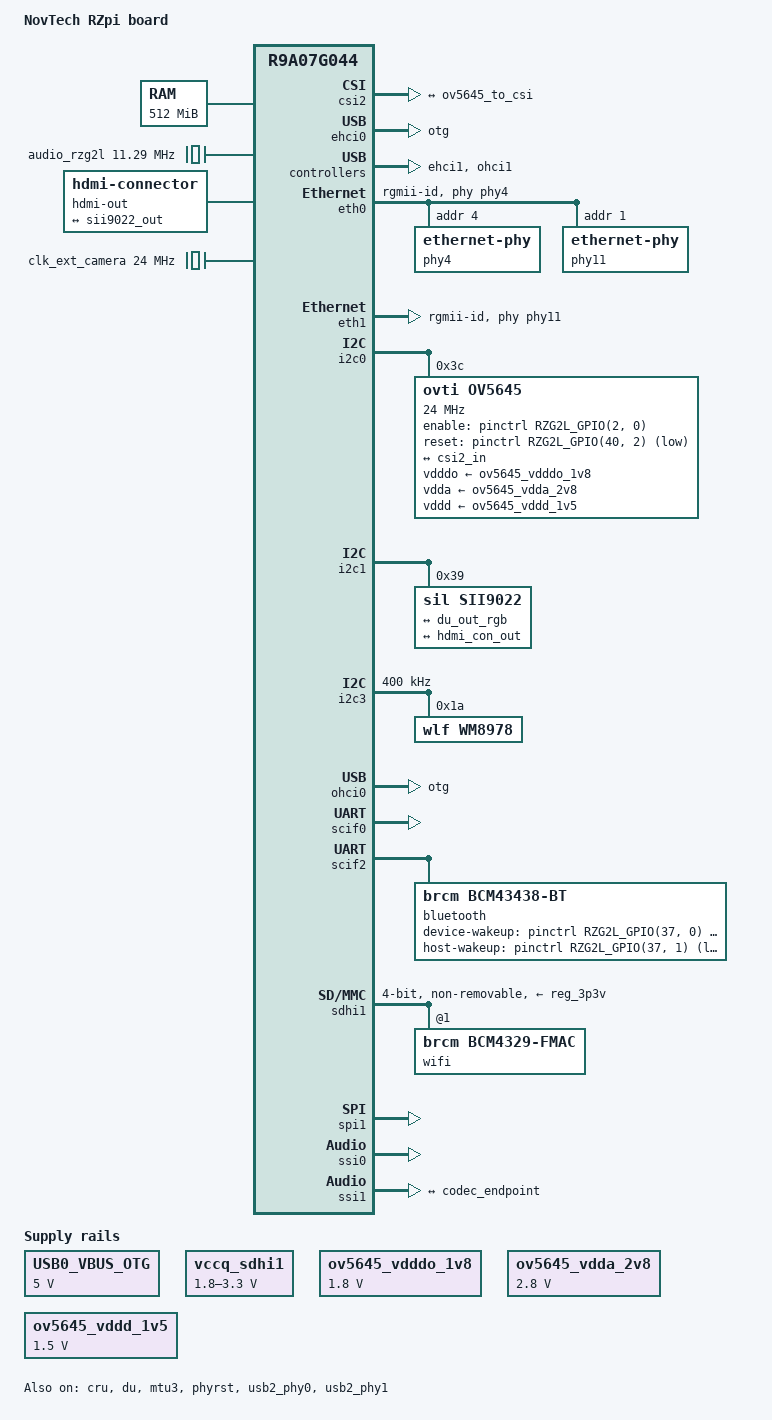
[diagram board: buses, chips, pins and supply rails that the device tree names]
// SPDX-License-Identifier: (GPL-2.0-only OR BSD-2-Clause)
/*
 * Device Tree Source for the RZ/G2L SBC board
 *
 * Copyright (C) 2023 Renesas Electronics Corp.
 */

/dts-v1/;
#include "r9a07g044l2.dtsi"
#include "rzg2l-smarc-som.dtsi"
#include "rzg2l-smarc-pinfunction.dtsi"

/ {
	compatible = "rzpi", "renesas,r9a07g044l2", "renesas,r9a07g044";
	model = "NovTech RZpi board";

	aliases {
		i2c3 = "/soc/i2c@10058c00";
		ethernet0 = "/soc/ethernet@11c20000";
		ethernet1 = "/soc/ethernet@11c30000";
		serial0 = "/soc/serial@1004b800";
		i2c0 = "/soc/i2c@10058000";
		i2c1 = "/soc/i2c@10058400";
		mmc0 = "/soc/mmc@11c00000";
		mmc1 = "/soc/mmc@11c10000";
	};

	chosen {
		bootargs = "ignore_loglevel rw root=/dev/nfs ip=on";
		stdout-path = "serial0:115200n8";
	};

	memory@48000000 {
		device_type = "memory";
		reg = <0x0 0x48000000 0x0 0x20000000>;
	};

	reserved-memory {
		#address-cells = <0x2>;
		#size-cells = <0x2>;
		ranges;

		global_cma: linux,cma@58000000 {
			compatible = "shared-dma-pool";
			linux,cma-default;
			reusable;
			reg = <0x0 0x58000000 0x0 0x2000000>;
		};

		mmp_reserved: linux,multimedia {
			compatible = "shared-dma-pool";
			reusable;
			reg = <0x0 0x5a000000 0x0 0x1000000>;
		};
	};

	mmngr {
		compatible = "renesas,mmngr";
		memory-region = <&mmp_reserved>;
	};

	mmngrbuf {
		compatible = "renesas,mmngrbuf";
	};

	vspm_if {
		compatible = "renesas,vspm_if";
	};

	audio_rzg2l: audio_mclock {
		compatible = "fixed-clock";
		#clock-cells = <0x0>;
		clock-frequency = <0xac4400>;
	};

	snd_rzg2l: sound {
		compatible = "simple-audio-card";
		simple-audio-card,format = "i2s";
		simple-audio-card,bitclock-master = <&cpu_dai>;
		simple-audio-card,frame-master = <&cpu_dai>;
		simple-audio-card,mclk-fs = <0x100>;
		simple-audio-card,widgets = "Microphone", "Microphone Jack";
		simple-audio-card,routing = "L2", "Mic Bias", "R2", "Mic Bias", \
						"Mic Bias", "Microphone Jack";

		cpu_dai: simple-audio-card,cpu {
		};

		simple-audio-card,codec {
			clocks = <&audio_rzg2l>;
			sound-dai = <&wm8978>;
		};
	};

	regulator-usb0-vbus-otg {
		compatible = "regulator-fixed";
		regulator-name = "USB0_VBUS_OTG";
		regulator-min-microvolt = <5000000>;
		regulator-max-microvolt = <5000000>;
	};

	vccq_sdhi1: regulator-vccq-sdhi1 {
		compatible = "regulator-gpio";
		regulator-name = "SDHI1 VccQ";
		regulator-min-microvolt = <1800000>;
		regulator-max-microvolt = <3300000>;
		gpios-states = <1>;
		states = <3300000 1>, <1800000 0>;
	};

	hdmi-out {
		compatible = "hdmi-connector";
		type = "a";

		status = "okay";

		port {
			hdmi_con_out: endpoint {
				remote-endpoint = <&sii9022_out>;
			};
		};
	};

	clk_ext_camera: clk_ext_camera {
		compatible = "fixed-clock";
		#clock-cells = <0>;
		clock-frequency = <24000000>;
	};

	ov5645_vdddo_1v8: 1p8v {
		compatible = "regulator-fixed";
		regulator-name = "camera_vdddo";
		regulator-min-microvolt = <1800000>;
		regulator-max-microvolt = <1800000>;
		regulator-always-on;
	};

	ov5645_vdda_2v8: 2p8v {
		compatible = "regulator-fixed";
		regulator-name = "camera_vdda";
		regulator-min-microvolt = <2800000>;
		regulator-max-microvolt = <2800000>;
		regulator-always-on;
	};

	ov5645_vddd_1v5: 1p5v {
		compatible = "regulator-fixed";
		regulator-name = "camera_vddd";
		regulator-min-microvolt = <1500000>;
		regulator-max-microvolt = <1500000>;
		regulator-always-on;
	};

	sound_card {
		compatible = "audio-graph-card";
		dais = <&i2s2_port0>;
	};
};

&pinctrl {
	du_pins: du {
		pinmux = <RZG2L_PORT_PINMUX(6, 0, 1)>, /* CLK */
			<RZG2L_PORT_PINMUX(6, 1, 1)>, /* HSYNC */
			<RZG2L_PORT_PINMUX(7, 0, 1)>, /* VSYNC */
			<RZG2L_PORT_PINMUX(7, 1, 1)>, /* DE */
			<RZG2L_PORT_PINMUX(8, 1, 1)>,
			<RZG2L_PORT_PINMUX(8, 2, 1)>,
			<RZG2L_PORT_PINMUX(9, 0, 1)>,
			<RZG2L_PORT_PINMUX(9, 1, 1)>,
			<RZG2L_PORT_PINMUX(10, 0, 1)>,
			<RZG2L_PORT_PINMUX(10, 1, 1)>,
			<RZG2L_PORT_PINMUX(12, 0, 1)>,
			<RZG2L_PORT_PINMUX(12, 1, 1)>,
			<RZG2L_PORT_PINMUX(13, 0, 1)>,
			<RZG2L_PORT_PINMUX(13, 1, 1)>,
			<RZG2L_PORT_PINMUX(13, 2, 1)>,
			<RZG2L_PORT_PINMUX(14, 0, 1)>,
			<RZG2L_PORT_PINMUX(15, 1, 1)>,
			<RZG2L_PORT_PINMUX(16, 0, 1)>,
			<RZG2L_PORT_PINMUX(16, 1, 1)>,
			<RZG2L_PORT_PINMUX(17, 0, 1)>,
			<RZG2L_PORT_PINMUX(17, 1, 1)>,
			<RZG2L_PORT_PINMUX(17, 2, 1)>;
	};

	eth1_pins: eth1 {
		pinmux = <RZG2L_PORT_PINMUX(29, 0, 1)>, /* ET1_TXC */
			<RZG2L_PORT_PINMUX(29, 1, 1)>, /* ET1_TX_CTL */
			<RZG2L_PORT_PINMUX(30, 0, 1)>, /* ET1_TXD0 */
			<RZG2L_PORT_PINMUX(30, 1, 1)>, /* ET1_TXD1 */
			<RZG2L_PORT_PINMUX(31, 0, 1)>, /* ET1_TXD2 */
			<RZG2L_PORT_PINMUX(31, 1, 1)>, /* ET1_TXD3 */
			<RZG2L_PORT_PINMUX(33, 1, 1)>, /* ET1_RXC */
			<RZG2L_PORT_PINMUX(34, 0, 1)>, /* ET1_RX_CTL */
			<RZG2L_PORT_PINMUX(34, 1, 1)>, /* ET1_RXD0 */
			<RZG2L_PORT_PINMUX(35, 0, 1)>, /* ET1_RXD1 */
			<RZG2L_PORT_PINMUX(35, 1, 1)>, /* ET1_RXD2 */
			<RZG2L_PORT_PINMUX(36, 0, 1)>; /* ET1_RXD3 */
	};

	scif2_pins: scif2 {
		pinmux = <RZG2L_PORT_PINMUX(48, 0, 1)>, /* TxD */
			<RZG2L_PORT_PINMUX(48, 1, 1)>, /* RxD */
			<RZG2L_PORT_PINMUX(42, 3, 4)>, /* CTS# */
			<RZG2L_PORT_PINMUX(42, 4, 4)>; /* RTS# */
	};

	/* Remove unused nodes */
	/delete-node/ can1-stb-hog;
};

&adc {
	status = "disabled";
};

&audio_clk1 {
	clock-frequency = <11289600>;
};

&audio_clk2 {
	clock-frequency = <12288000>;
};

&canfd {
	pinctrl-0 = <&can0_pins &can1_pins>;
	pinctrl-names = "default";
	status = "disabled";
	channel0 {
		status = "okay";
	};
	channel1 {
		status = "okay";
	};
};

&cru {
	status = "okay";
};

&cpu_dai {
	sound-dai = <&ssi0>;
};

&csi2 {
	status = "okay";

	ports {

		port {
			csi2_in: endpoint {
				clock-lanes = <0>;
				data-lanes = <1 2>;
				remote-endpoint = <&ov5645_to_csi>;
			};
		};
	};
};

&du {
	pinctrl-0 = <&du_pins>;
	pinctrl-names = "default";

	status = "okay";

	ports {

		port@0 {
			du_out_rgb: endpoint {
				remote-endpoint = <&sii9022_in>;
			};
		};
	};
};

&dsi0 {
	status = "disabled";

	ports {
		port@1 {
			dsi0_out: endpoint {
				remote-endpoint = <&adv7535_in>;
				data-lanes = <1 2 3 4>;
			};
		};
	};
};

&ehci0 {
	dr_mode = "otg";
	status = "okay";
};

&ehci1 {
	status = "okay";
};

&eth0 {
	pinctrl-0 = <&eth0_pins>;
	pinctrl-names = "default";
	phy-handle = <&phy4>;
	phy-mode = "rgmii-id";
	status = "okay";

	phy4: ethernet-phy@4 {
		reg = <0x4>;
	};

	phy11: ethernet-phy@1 {
		reg = <0x1>;
	};
};

&eth1 {
	pinctrl-0 = <&eth1_pins>;
	pinctrl-names = "default";
	phy-handle = <&phy11>;
	phy-mode = "rgmii-id";
	status = "okay";
};

&hsusb {
	status = "disabled";
};

&i2c0 {
	pinctrl-0 = <&i2c0_pins>;
	pinctrl-names = "default";

	status = "okay";

	ov5645: camera@3c {
		compatible = "ovti,ov5645";
		reg = <0x3c>;
		clock-names = "xclk";
		clocks = <&clk_ext_camera>;
		clock-frequency = <24000000>;
		vdddo-supply = <&ov5645_vdddo_1v8>;
		vdda-supply = <&ov5645_vdda_2v8>;
		vddd-supply = <&ov5645_vddd_1v5>;

		port {
			ov5645_to_csi: endpoint {
				clock-lanes = <0>;
				data-lanes = <1 2>;
				remote-endpoint = <&csi2_in>;
			};
		};
	};
};

&i2c1 {
	pinctrl-0 = <&i2c1_pins>;
	pinctrl-names = "default";

	status = "okay";

	adv7535: hdmi@3d {
		compatible = "adi,adv7535";
		reg = <0x3d>;
		status = "disabled";

		avdd-supply = <&reg_1p8v>;
		dvdd-supply = <&reg_1p8v>;
		pvdd-supply = <&reg_1p8v>;
		a2vdd-supply = <&reg_1p8v>;
		v3p3-supply = <&reg_3p3v>;
		v1p2-supply = <&reg_1p8v>;

		adi,dsi-lanes = <4>;

		ports {
			#address-cells = <1>;
			#size-cells = <0>;

			port@0 {
				reg = <0>;
				adv7535_in: endpoint@0 {
					remote-endpoint = <&dsi0_out>;
				};
			};

			port@2 {
				reg = <2>;
				codec_endpoint: endpoint {
					remote-endpoint = <&i2s2_cpu_endpoint>;
				};
			};
		};
	};

	sii9022: hdmi@39 {
		#sound-dai-cells = <0x0>;
		compatible = "sil,sii9022";
		reg = <0x39>;
		status = "okay";

		ports {
			#address-cells = <1>;
			#size-cells = <0>;

			port@0 {
				reg = <0>;

				sii9022_in: endpoint {
					remote-endpoint = <&du_out_rgb>;
				};
			};

			port@1 {
				reg = <1>;

				sii9022_out: endpoint {
					remote-endpoint = <&hdmi_con_out>;
				};
			};
		};
	};
};

&i2c3 {
	pinctrl-0 = <&i2c3_pins>;
	pinctrl-names = "default";
	clock-frequency = <400000>;

	status = "okay";

	wm8978: codec@1a {
				compatible = "wlf,wm8978";
				#sound-dai-cells = <0>;
				reg = <0x1a>;
	};
};

&mtu3 {
	status = "okay";
};

&ohci0 {
	dr_mode = "otg";
	status = "okay";
};

&ohci1 {
	status = "okay";
};

&phyrst {
	status = "okay";
};

&scif0 {
	pinctrl-0 = <&scif0_pins>;
	pinctrl-names = "default";
	status = "okay";
};

&scif2 {
	pinctrl-0 = <&scif2_pins>;
	pinctrl-names = "default";

	uart-has-rtscts;
	status = "okay";

	bluetooth {
		compatible = "brcm,bcm43438-bt";
		device-wakeup-gpios = <&pinctrl RZG2L_GPIO(37, 0) GPIO_ACTIVE_LOW>;
		host-wakeup-gpios = <&pinctrl RZG2L_GPIO(37, 1) GPIO_ACTIVE_LOW>;
		status = "okay";
	};
};

&sdhi1 {
	pinctrl-0 = <&sdhi1_pins>;
	pinctrl-1 = <&sdhi1_pins_uhs>;
	pinctrl-names = "default", "state_uhs";

	vmmc-supply = <&reg_3p3v>;
	vqmmc-supply = <&vccq_sdhi1>;
	bus-width = <4>;
	sd-uhs-sdr50;
	sd-uhs-sdr104;
	status = "okay";
	#address-cells = <0x1>;
	#size-cells = <0x0>;
	no-1-8-v;
	no-mmc;
	non-removable;
	keep-power-in-suspend;

	wifi@1 {
		reg = <0x1>;
		compatible = "brcm,bcm4329-fmac";
	};
};

&spi1 {
	pinctrl-0 = <&spi1_pins>;
	pinctrl-names = "default";
	dmas = <&dmac 0x2e99>, <&dmac 0x2e9a>;
	dma-names = "tx", "rx";

	status = "okay";
};

&ssi0 {
	pinctrl-0 = <&ssi0_pins>;
	pinctrl-names = "default";

	status = "okay";
};

&ssi1 {
	pinctrl-0 = <&ssi1_pins>;
	pinctrl-names = "default";

	status = "okay";

	ports {
		i2s2_port0: port@0 {
			i2s2_cpu_endpoint: endpoint {
				remote-endpoint = <&codec_endpoint>;
				dai-format = "i2s";
			};
		};
	};
};

&usb2_phy0 {
	status = "okay";
};

&usb2_phy1 {
	pinctrl-0 = <&usb1_pins>;
	pinctrl-names = "default";

	status = "okay";
};

&vccq_sdhi1 {
	gpios = <&pinctrl RZG2L_GPIO(39, 1) GPIO_ACTIVE_HIGH>;
};

&ov5645 {
	enable-gpios = <&pinctrl RZG2L_GPIO(2, 0) GPIO_ACTIVE_HIGH>;
	reset-gpios = <&pinctrl RZG2L_GPIO(40, 2) GPIO_ACTIVE_LOW>;
};
